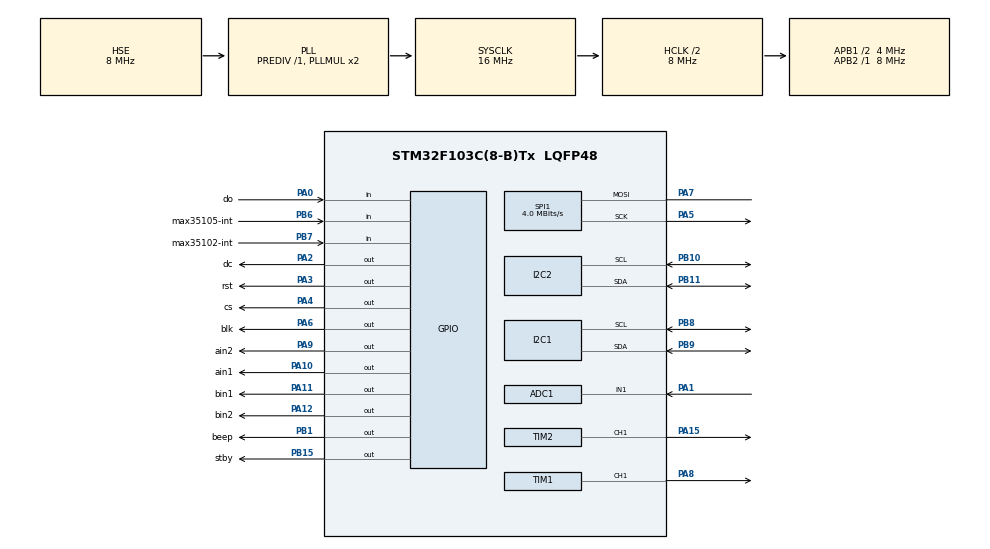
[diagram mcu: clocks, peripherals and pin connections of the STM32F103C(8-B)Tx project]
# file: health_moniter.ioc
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ADC1.Channel-1\#ChannelRegularConversion=ADC_CHANNEL_1
ADC1.NbrOfConversionFlag=1
ADC1.Rank-1\#ChannelRegularConversion=1
ADC1.SamplingTime-1\#ChannelRegularConversion=ADC_SAMPLETIME_1CYCLE_5
ADC1.master=1
Dma.Request0=SPI1_RX
Dma.Request1=SPI1_TX
Dma.SPI1_RX.0.Direction=DMA_PERIPH_TO_MEMORY
Dma.SPI1_RX.0.Instance=DMA1_Channel2
Dma.SPI1_RX.0.MemDataAlignment=DMA_MDATAALIGN_BYTE
Dma.SPI1_RX.0.MemInc=DMA_MINC_ENABLE
Dma.SPI1_RX.0.Mode=DMA_NORMAL
Dma.SPI1_RX.0.PeriphDataAlignment=DMA_PDATAALIGN_BYTE
Dma.SPI1_RX.0.PeriphInc=DMA_PINC_DISABLE
Dma.SPI1_RX.0.Priority=DMA_PRIORITY_LOW
Dma.SPI1_TX.1.Direction=DMA_MEMORY_TO_PERIPH
Dma.SPI1_TX.1.Instance=DMA1_Channel3
Dma.SPI1_TX.1.MemDataAlignment=DMA_MDATAALIGN_BYTE
Dma.SPI1_TX.1.MemInc=DMA_MINC_ENABLE
Dma.SPI1_TX.1.Mode=DMA_NORMAL
Dma.SPI1_TX.1.PeriphDataAlignment=DMA_PDATAALIGN_BYTE
Dma.SPI1_TX.1.PeriphInc=DMA_PINC_DISABLE
Dma.SPI1_TX.1.Priority=DMA_PRIORITY_LOW
Mcu.Family=STM32F1
Mcu.Name=STM32F103C(8-B)Tx
Mcu.Package=LQFP48
NVIC.DMA1_Channel2_IRQn=true\:0\:0\:false\:false\:true\:false\:true\:true
NVIC.DMA1_Channel3_IRQn=true\:0\:0\:false\:false\:true\:false\:true\:true
NVIC.PriorityGroup=NVIC_PRIORITYGROUP_4
PA0-WKUP.GPIO_Label=do
PA0-WKUP.Signal=GPIO_Input
PA1.Signal=ADCx_IN1
PA10.GPIO_Label=ain1
PA10.Signal=GPIO_Output
PA11.GPIO_Label=bin1
PA11.Signal=GPIO_Output
PA12.GPIO_Label=bin2
PA12.Signal=GPIO_Output
PA13.Mode=Serial_Wire
PA13.Signal=SYS_JTMS-SWDIO
PA14.Mode=Serial_Wire
PA14.Signal=SYS_JTCK-SWCLK
PA15.Signal=S_TIM2_CH1_ETR
PA2.GPIO_Label=dc
PA2.Signal=GPIO_Output
PA3.GPIO_Label=rst
PA3.Signal=GPIO_Output
PA4.GPIO_Label=cs
PA4.Signal=GPIO_Output
PA5.Mode=Simplex_Bidirectional_Master
PA5.Signal=SPI1_SCK
PA6.GPIO_Label=blk
PA6.Signal=GPIO_Output
PA7.Mode=Simplex_Bidirectional_Master
PA7.Signal=SPI1_MOSI
PA8.Signal=S_TIM1_CH1
PA9.GPIO_Label=ain2
PA9.Signal=GPIO_Output
PB1.GPIO_Label=beep
PB1.Signal=GPIO_Output
PB10.Mode=I2C
PB10.Signal=I2C2_SCL
PB11.Mode=I2C
PB11.Signal=I2C2_SDA
PB15.GPIO_Label=stby
PB15.Signal=GPIO_Output
PB6.GPIO_Label=max35105-int
PB6.Signal=GPIO_Input
PB7.GPIO_Label=max35102-int
PB7.Signal=GPIO_Input
PB8.Mode=I2C
PB8.Signal=I2C1_SCL
PB9.Mode=I2C
PB9.Signal=I2C1_SDA
PC14-OSC32_IN.Mode=LSE-External-Oscillator
PC14-OSC32_IN.Signal=RCC_OSC32_IN
PC15-OSC32_OUT.Mode=LSE-External-Oscillator
PC15-OSC32_OUT.Signal=RCC_OSC32_OUT
PD0-OSC_IN.Mode=HSE-External-Oscillator
PD0-OSC_IN.Signal=RCC_OSC_IN
PD1-OSC_OUT.Mode=HSE-External-Oscillator
PD1-OSC_OUT.Signal=RCC_OSC_OUT
ProjectManager.HeapSize=0x200
ProjectManager.StackSize=0x400
ProjectManager.TargetToolchain=CMake
RCC.ADCPresc=RCC_ADCPCLK2_DIV6
RCC.AHBCLKDivider=RCC_SYSCLK_DIV2
RCC.AHBFreq_Value=8000000
RCC.APB1CLKDivider=RCC_HCLK_DIV2
RCC.APB1Freq_Value=4000000
RCC.APB1TimFreq_Value=8000000
RCC.APB2Freq_Value=8000000
RCC.APB2TimFreq_Value=8000000
RCC.HCLKFreq_Value=8000000
RCC.PLLSourceVirtual=RCC_PLLSOURCE_HSE
RCC.RTCClockSelection=RCC_RTCCLKSOURCE_LSE
RCC.SYSCLKFreq_VALUE=16000000
RCC.SYSCLKSource=RCC_SYSCLKSOURCE_PLLCLK
RCC.USBFreq_Value=16000000
SH.ADCx_IN1.0=ADC1_IN1,IN1
SH.S_TIM1_CH1.0=TIM1_CH1,PWM Generation1 CH1
SH.S_TIM2_CH1_ETR.0=TIM2_CH1,PWM Generation1 CH1
SPI1.BaudRatePrescaler=SPI_BAUDRATEPRESCALER_2
SPI1.CalculateBaudRate=4.0 MBits/s
SPI1.Direction=SPI_DIRECTION_1LINE
SPI1.Mode=SPI_MODE_MASTER
SPI1.VirtualType=VM_MASTER
TIM1.Channel-PWM\ Generation1\ CH1=TIM_CHANNEL_1
TIM2.Channel-PWM\ Generation1\ CH1=TIM_CHANNEL_1
VP_RTC_VS_RTC_Activate.Mode=RTC_Enabled
VP_RTC_VS_RTC_Calendar.Mode=RTC_Calendar
board=custom

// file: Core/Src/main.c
/* USER CODE BEGIN Header */
/**
  ******************************************************************************
  * @file    main.c
  * @brief   健康监测系统主程序体。
  *          初始化所有外设、传感器和显示屏，进入裸机超级循环，
  *          轮询传感器、更新 GUI、控制报警蜂鸣器及排气电机。
  * @author  Health Monitor Project Team
  * @date    2026
  * @copyright Copyright (c) 2026 STMicroelectronics. All rights reserved.
  ******************************************************************************
  */
/* USER CODE END Header */

#include "main.h"

/* USER CODE BEGIN Includes */
#include "sht40.h"
#include "gui.hpp"
#include "tb6612.h"
#include "mp4.h"
#include <stdio.h>
/* USER CODE END Includes */

ADC_HandleTypeDef hadc1;      /*!< ADC1 句柄，用于 MP-4 气体传感器 (PA1) */

I2C_HandleTypeDef hi2c1;      /*!< I2C1 句柄，用于 MAX30105 烟雾传感器 */
I2C_HandleTypeDef hi2c2;      /*!< I2C2 句柄，用于 SHT40 和 VEML7700 */

RTC_HandleTypeDef hrtc;       /*!< RTC 句柄，由 LSE 32.768 kHz 提供时钟 */

SPI_HandleTypeDef hspi1;      /*!< SPI1 句柄，用于 ST7735 TFT 显示屏 */
DMA_HandleTypeDef hdma_spi1_rx; /*!< SPI1 RX DMA 句柄 */
DMA_HandleTypeDef hdma_spi1_tx; /*!< SPI1 TX DMA 句柄（ST7735 异步传输） */

TIM_HandleTypeDef htim1;      /*!< TIM1 句柄：电机 A 的 PWM 控制 (PA8) */
TIM_HandleTypeDef htim2;      /*!< TIM2 句柄：电机 B 的 PWM 控制 (PA15 重映射) */

/* USER CODE BEGIN PV */
static uint32_t last_sensor_tick = 0; /*!< 上次触发 SHT40 的时间戳 (ms) */
static uint32_t last_lux_tick    = 0; /*!< 上次读取 VEML7700 的时间戳 (ms) */
static double   sht40_temp       = 0.0; /*!< 最新温度值 (°C) */
static double   sht40_hum        = 0.0; /*!< 最新湿度值 (%RH) */
static uint8_t  gas_alarm        = 0;   /*!< 可燃气体报警标志 */
static uint8_t  smoke_alarm      = 0;   /*!< 烟雾报警标志 */
/* USER CODE END PV */

void SystemClock_Config(void);
static void MX_GPIO_Init(void);
static void MX_DMA_Init(void);
static void MX_ADC1_Init(void);
static void MX_I2C1_Init(void);
static void MX_I2C2_Init(void);
static void MX_SPI1_Init(void);
static void MX_TIM1_Init(void);
static void MX_TIM2_Init(void);
static void MX_RTC_Init(void);

/* USER CODE BEGIN 0 */

/* ===================== Buzzer Alarm Control ===================== */

/**
  * @brief  非阻塞蜂鸣器状态机：三声短促蜂鸣。
  * @note   报警激活时：嘀-嘀-嘀（100 ms 响 / 50 ms 停，重复 3 次）
  *         -> 1200 ms 暂停 -> 循环。
  *         报警未激活时：立即关闭。
  * @param  alarm  1 = 触发报警，0 = 静音
  */
static void buzzer_update(uint8_t alarm)
{
    static uint32_t tick  = 0;
    static uint8_t  phase = 0; /*!< 0=空闲，1..5=通/断脉冲，6=长暂停 */
    uint32_t now = HAL_GetTick();

    if (!alarm) {
        if (phase != 0) {
            HAL_GPIO_WritePin(beep_GPIO_Port, beep_Pin, GPIO_PIN_RESET);
            phase = 0;
        }
        return;
    }

    if (phase == 0) {
        HAL_GPIO_WritePin(beep_GPIO_Port, beep_Pin, GPIO_PIN_SET);
        tick = now;
        phase = 1;
    } else if (phase == 1) { /* 第1次响：100 ms */
        if (now - tick >= 100) {
            HAL_GPIO_WritePin(beep_GPIO_Port, beep_Pin, GPIO_PIN_RESET);
            tick = now;
            phase = 2;
        }
    } else if (phase == 2) { /* 第1次停：50 ms */
        if (now - tick >= 50) {
            HAL_GPIO_WritePin(beep_GPIO_Port, beep_Pin, GPIO_PIN_SET);
            tick = now;
            phase = 3;
        }
    } else if (phase == 3) { /* 第2次响：100 ms */
        if (now - tick >= 100) {
            HAL_GPIO_WritePin(beep_GPIO_Port, beep_Pin, GPIO_PIN_RESET);
            tick = now;
            phase = 4;
        }
    } else if (phase == 4) { /* 第2次停：50 ms */
        if (now - tick >= 50) {
            HAL_GPIO_WritePin(beep_GPIO_Port, beep_Pin, GPIO_PIN_SET);
            tick = now;
            phase = 5;
        }
    } else if (phase == 5) { /* 第3次响：100 ms */
        if (now - tick >= 100) {
            HAL_GPIO_WritePin(beep_GPIO_Port, beep_Pin, GPIO_PIN_RESET);
            tick = now;
            phase = 6;
        }
    } else if (phase == 6) { /* 暂停：1200 ms */
        if (now - tick >= 1200) {
            HAL_GPIO_WritePin(beep_GPIO_Port, beep_Pin, GPIO_PIN_SET);
            tick = now;
            phase = 1; /* 重新开始三声蜂鸣 */
        }
    }
}

/* ===================== Motor Speed Mapping ===================== */

/** @brief 电机启动的 PPM 阈值（滞回开启）。 */
#define MOTOR_START_PPM   1000.0f
/** @brief 电机停止的 PPM 阈值（滞回关闭）。 */
#define MOTOR_STOP_PPM    900.0f
/** @brief 对应满占空比 PWM (65535) 的 PPM 阈值。 */
#define MOTOR_FULL_PPM    5000.0f

/**
  * @brief  将气体/烟雾浓度 (ppm) 映射为 PWM 占空比 (0..65535)。
  * @param  ppm  浓度，单位为百万分之一 (ppm)。
  * @retval uint16_t TIM 的 PWM 比较值。
  */
static uint16_t ppm_to_pwm(float ppm)
{
    if (ppm <= MOTOR_START_PPM) return 0;
    float ratio = (ppm - MOTOR_START_PPM) / (MOTOR_FULL_PPM - MOTOR_START_PPM);
    if (ratio > 1.0f) ratio = 1.0f;
    return (uint16_t)(ratio * 65535.0f);
}

/**
  * @brief  电机 A 更新：驱动烟雾排气风扇 (TIM1_CH1)。
  * @note   使用滞回特性，避免在阈值附近频繁启停。
  * @param  ppm  烟雾浓度 (ppm)。
  */
static void motorA_update(float ppm)
{
    static uint8_t running = 0;
    if (running) {
        if (ppm < MOTOR_STOP_PPM) {
            TB6612_SetMotorA(TB6612_STOP, 0);
            running = 0;
        } else {
            TB6612_SetMotorA(TB6612_CW, ppm_to_pwm(ppm));
        }
    } else {
        if (ppm > MOTOR_START_PPM) {
            running = 1;
            TB6612_SetMotorA(TB6612_CW, ppm_to_pwm(ppm));
        }
    }
}

/**
  * @brief  电机 B 更新：驱动可燃气体排气风扇 (TIM2_CH1)。
  * @note   使用滞回特性，避免在阈值附近频繁启停。
  * @param  ppm  气体浓度 (ppm)。
  */
static void motorB_update(float ppm)
{
    static uint8_t running = 0;
    if (running) {
        if (ppm < MOTOR_STOP_PPM) {
            TB6612_SetMotorB(TB6612_STOP, 0);
            running = 0;
        } else {
            TB6612_SetMotorB(TB6612_CW, ppm_to_pwm(ppm));
        }
    } else {
        if (ppm > MOTOR_START_PPM) {
            running = 1;
            TB6612_SetMotorB(TB6612_CW, ppm_to_pwm(ppm));
        }
    }
}

/* USER CODE END 0 */

/**
  * @brief  应用程序入口点。
  * @retval int（在嵌入式环境中永不返回）。
  */
int main(void)
{

    /* MCU Configuration -----------------------------------------------------*/

    /* 复位所有外设，初始化 Flash 接口和 SysTick。 */
    HAL_Init();

    /* 配置系统时钟为 72 MHz（HSE 8 MHz -> PLL x2 -> AHB/2）。 */
    SystemClock_Config();

    /* 初始化所有已配置的外设。 */
    MX_GPIO_Init();
    MX_DMA_Init();
    MX_ADC1_Init();
    MX_I2C1_Init();
    MX_I2C2_Init();
    MX_SPI1_Init();
    MX_TIM1_Init();
    MX_TIM2_Init();
    MX_RTC_Init();

    /* USER CODE BEGIN 2 */

    /* 初始化电机驱动器（释放待机，PWM 为 0）。 */
    TB6612_Init();

    /* 初始化 TFT LCD 并绘制静态背景。 */
    ST7735_Init();
    gui_init();
    gui_draw_background();

    /* 初始化 MP-4 可燃气体传感器。
     * 跳过预热和校准：使用典型默认值 R0，使设备立即显示读数。
     * 如需精确测量，请在清洁空气中预热 30 分钟后执行 CalibrateR0()。 */
    MP4_Init();
    {
        MP4_Data_t *d = MP4_GetData();
        d->R0 = 40000.0f;      /*!< 3.3 V 加热电压下的典型默认 R0 值 */
        d->IsCalibrated = 1;
        d->IsWarmedUp   = 1;
    }

    /* USER CODE END 2 */

    /* Infinite loop ---------------------------------------------------------*/
    while (1)
    {

        /* USER CODE BEGIN 3 */
        uint32_t now = HAL_GetTick();

        /* ---------- SHT40 温度与湿度（非阻塞模式） ---------- */
        if ((now - last_sensor_tick >= 200) && (SHT40_NB_GetState() == SHT40_NB_IDLE)) {
            last_sensor_tick = now;
            SHT40_NB_Start();   /*!< 触发测量，立即返回 */
        }

        /* 在等待 >= 10 ms 的转换延时后，查询 SHT40 结果。 */
        if (SHT40_NB_Poll(&sht40_temp, &sht40_hum)) {
            gui_update_temp(sht40_temp);
            gui_update_hum(sht40_hum);
        }

        /* ---------- VEML7700 环境光（无等待模式） ---------- */
        if (now - last_lux_tick >= 100) {
            last_lux_tick = now;
            float lux = veml7700_read_lux();
            gui_update_lux(lux);
        }

        /* ---------- MAX30105 烟雾检测 ---------- */
        static uint32_t last_smoke_tick = 0;
        static float    smoke_ppm       = 0.0f;
        if (now - last_smoke_tick >= 200) {
            last_smoke_tick = now;
            smoke_ppm = smoke_detector_read();
            gui_update_smoke(smoke_ppm);
            if (smoke_ppm >= 0.0f) {
                smoke_alarm = (smoke_ppm >= 1000.0f) ? 1 : 0;
                motorA_update(smoke_ppm);
            } else {
                smoke_alarm = 0;
            }
        }

        /* ---------- MP-4 可燃气体 ---------- */
        static uint32_t last_gas_tick = 0;
        static float    gas_ppm       = 0.0f;
        if (now - last_gas_tick >= 500) {
            last_gas_tick = now;
            MP4_Status_t status = MP4_Read();
            if (status == MP4_STATUS_OK || status == MP4_STATUS_WARMING_UP) {
                MP4_Data_t *data = MP4_GetData();
                gas_ppm = data->Ppm;
                gui_update_gas((double)gas_ppm);
                gas_alarm = (gas_ppm >= MP4_ALARM_THRESHOLD) ? 1 : 0;
            } else {
                gui_update_gas(-1.0); /*!< 未校准或出错时显示 "--" */
                gas_ppm = 0.0f;
                gas_alarm = 0;
            }
            motorB_update(gas_ppm);
        }

        /* ---------- 蜂鸣器报警（烟雾与气体报警的逻辑或） ---------- */
        buzzer_update(gas_alarm || smoke_alarm);

        /* ---------- RTC 时间显示（每秒更新一次） ---------- */
        static uint32_t last_rtc_tick = 0;
        if (now - last_rtc_tick >= 1000) {
            last_rtc_tick = now;
            RTC_TimeTypeDef sTime;
            RTC_DateTypeDef sDate;
            HAL_RTC_GetTime(&hrtc, &sTime, RTC_FORMAT_BIN);
            HAL_RTC_GetDate(&hrtc, &sDate, RTC_FORMAT_BIN);
            gui_update_time(sTime.Hours, sTime.Minutes, sTime.Seconds);
        }
        /* USER CODE END 3 */
    }
}

/**
  * @brief  系统时钟配置。
  * @note   HSE 8 MHz -> PLL x2 -> 系统时钟 72 MHz。
  *         AHB = 系统时钟/2 = 36 MHz。
  *         APB1 = AHB/2 = 18 MHz (最大值), APB2 = AHB/1 = 36 MHz。
  *         RTC 时钟 = LSE 32.768 kHz。
  *         ADC PCLK2 = /6。
  * @retval None
  */
void SystemClock_Config(void)
{
    RCC_OscInitTypeDef RCC_OscInitStruct = {0};
    RCC_ClkInitTypeDef RCC_ClkInitStruct = {0};
    RCC_PeriphCLKInitTypeDef PeriphClkInit = {0};

    /* 初始化 RCC 振荡器：HSE + LSE + PLL。 */
    RCC_OscInitStruct.OscillatorType = RCC_OSCILLATORTYPE_HSE | RCC_OSCILLATORTYPE_LSE;
    RCC_OscInitStruct.HSEState       = RCC_HSE_ON;
    RCC_OscInitStruct.HSEPredivValue = RCC_HSE_PREDIV_DIV1;
    RCC_OscInitStruct.LSEState       = RCC_LSE_ON;
    RCC_OscInitStruct.HSIState       = RCC_HSI_ON;
    RCC_OscInitStruct.PLL.PLLState   = RCC_PLL_ON;
    RCC_OscInitStruct.PLL.PLLSource  = RCC_PLLSOURCE_HSE;
    RCC_OscInitStruct.PLL.PLLMUL     = RCC_PLL_MUL2;
    if (HAL_RCC_OscConfig(&RCC_OscInitStruct) != HAL_OK)
    {
        Error_Handler();
    }

    /* 初始化 CPU、AHB 和 APB 总线时钟。 */
    RCC_ClkInitStruct.ClockType      = RCC_CLOCKTYPE_HCLK | RCC_CLOCKTYPE_SYSCLK
                                     | RCC_CLOCKTYPE_PCLK1 | RCC_CLOCKTYPE_PCLK2;
    RCC_ClkInitStruct.SYSCLKSource   = RCC_SYSCLKSOURCE_PLLCLK;
    RCC_ClkInitStruct.AHBCLKDivider  = RCC_SYSCLK_DIV2;
    RCC_ClkInitStruct.APB1CLKDivider = RCC_HCLK_DIV2;
    RCC_ClkInitStruct.APB2CLKDivider = RCC_HCLK_DIV1;

    if (HAL_RCC_ClockConfig(&RCC_ClkInitStruct, FLASH_LATENCY_0) != HAL_OK)
    {
        Error_Handler();
    }

    /* 外设时钟源：RTC 来自 LSE，ADC 预分频。 */
    PeriphClkInit.PeriphClockSelection = RCC_PERIPHCLK_RTC | RCC_PERIPHCLK_ADC;
    PeriphClkInit.RTCClockSelection    = RCC_RTCCLKSOURCE_LSE;
    PeriphClkInit.AdcClockSelection    = RCC_ADCPCLK2_DIV6;
    if (HAL_RCCEx_PeriphCLKConfig(&PeriphClkInit) != HAL_OK)
    {
        Error_Handler();
    }
}

/**
  * @brief  ADC1 初始化函数。
  * @note   配置为单次转换、软件触发、右对齐。
  *         通道 1 (PA1) 用于读取 MP-4 气体传感器的 VRL 电压。
  * @retval None
  */
static void MX_ADC1_Init(void)
{
    ADC_ChannelConfTypeDef sConfig = {0};

    /* 通用配置。 */
    hadc1.Instance                   = ADC1;
    hadc1.Init.ScanConvMode          = ADC_SCAN_DISABLE;
    hadc1.Init.ContinuousConvMode    = DISABLE;
    hadc1.Init.DiscontinuousConvMode = DISABLE;
    hadc1.Init.ExternalTrigConv      = ADC_SOFTWARE_START;
    hadc1.Init.DataAlign             = ADC_DATAALIGN_RIGHT;
    hadc1.Init.NbrOfConversion       = 1;
    if (HAL_ADC_Init(&hadc1) != HAL_OK)
    {
        Error_Handler();
    }

    /* 配置常规通道：PA1 (ADC1_IN1) 用于 MP-4 VRL。 */
    sConfig.Channel      = ADC_CHANNEL_1;
    sConfig.Rank         = ADC_REGULAR_RANK_1;
    sConfig.SamplingTime = ADC_SAMPLETIME_1CYCLE_5;
    if (HAL_ADC_ConfigChannel(&hadc1, &sConfig) != HAL_OK)
    {
        Error_Handler();
    }
}

/**
  * @brief  I2C1 初始化函数。
  * @note   标准模式 100 kHz，7 位寻址。
  *         连接到 MAX30105 烟雾传感器。
  * @retval None
  */
static void MX_I2C1_Init(void)
{
    hi2c1.Instance             = I2C1;
    hi2c1.Init.ClockSpeed      = 100000;
    hi2c1.Init.DutyCycle       = I2C_DUTYCYCLE_2;
    hi2c1.Init.OwnAddress1     = 0;
    hi2c1.Init.AddressingMode  = I2C_ADDRESSINGMODE_7BIT;
    hi2c1.Init.DualAddressMode = I2C_DUALADDRESS_DISABLE;
    hi2c1.Init.OwnAddress2     = 0;
    hi2c1.Init.GeneralCallMode = I2C_GENERALCALL_DISABLE;
    hi2c1.Init.NoStretchMode   = I2C_NOSTRETCH_DISABLE;
    if (HAL_I2C_Init(&hi2c1) != HAL_OK)
    {
        Error_Handler();
    }
}

/**
  * @brief  I2C2 初始化函数。
  * @note   标准模式 100 kHz，7 位寻址。
  *         连接到 SHT40 (0x44) 和 VEML7700 (0x10)。
  * @retval None
  */
static void MX_I2C2_Init(void)
{
    hi2c2.Instance             = I2C2;
    hi2c2.Init.ClockSpeed      = 100000;
    hi2c2.Init.DutyCycle       = I2C_DUTYCYCLE_2;
    hi2c2.Init.OwnAddress1     = 0;
    hi2c2.Init.AddressingMode  = I2C_ADDRESSINGMODE_7BIT;
    hi2c2.Init.DualAddressMode = I2C_DUALADDRESS_DISABLE;
    hi2c2.Init.OwnAddress2     = 0;
    hi2c2.Init.GeneralCallMode = I2C_GENERALCALL_DISABLE;
    hi2c2.Init.NoStretchMode   = I2C_NOSTRETCH_DISABLE;
    if (HAL_I2C_Init(&hi2c2) != HAL_OK)
    {
        Error_Handler();
    }
}

/**
  * @brief  RTC 初始化函数。
  * @note   使用 LSE，自动配置 1 秒预分频器。
  *         备份寄存器 DR1 = 0xA5A5 标记已初始化状态，
  *         以便 VBAT 在复位后保持时间。
  * @retval None
  */
static void MX_RTC_Init(void)
{
    RTC_TimeTypeDef sTime         = {0};
    RTC_DateTypeDef DateToUpdate  = {0};

    /* 仅初始化 RTC。 */
    hrtc.Instance              = RTC;
    hrtc.Init.AsynchPrediv     = RTC_AUTO_1_SECOND;
    hrtc.Init.OutPut           = RTC_OUTPUTSOURCE_ALARM;
    if (HAL_RTC_Init(&hrtc) != HAL_OK)
    {
        Error_Handler();
    }

    /* 检查备份寄存器：如果已初始化，则跳过时间设置。 */
    HAL_PWR_EnableBkUpAccess();
    if (HAL_RTCEx_BKUPRead(&hrtc, RTC_BKP_DR1) == 0xA5A5) {
        HAL_PWR_DisableBkUpAccess();
        return;
    }

    /* 设置初始时间和日期（BCD 格式）。 */
    sTime.Hours   = 0x0;
    sTime.Minutes = 0x0;
    sTime.Seconds = 0x0;
    if (HAL_RTC_SetTime(&hrtc, &sTime, RTC_FORMAT_BCD) != HAL_OK)
    {
        Error_Handler();
    }

    DateToUpdate.WeekDay = RTC_WEEKDAY_MONDAY;
    DateToUpdate.Month   = RTC_MONTH_JANUARY;
    DateToUpdate.Date    = 0x1;
    DateToUpdate.Year    = 0x0;
    if (HAL_RTC_SetDate(&hrtc, &DateToUpdate, RTC_FORMAT_BCD) != HAL_OK)
    {
        Error_Handler();
    }

    /* 标记备份寄存器，以便下次启动时跳过重新初始化。 */
    HAL_PWR_EnableBkUpAccess();
    HAL_RTCEx_BKUPWrite(&hrtc, RTC_BKP_DR1, 0xA5A5);
    HAL_PWR_DisableBkUpAccess();
}

/**
  * @brief  SPI1 初始化函数。
  * @note   主模式，双线全双工，8 位数据，CPOL=LOW，CPHA=1EDGE。
  *         波特率 = PCLK2/2 = 18 MHz（ST7735 的最大速率）。
  *         软件 NSS 控制。
  * @retval None
  */
static void MX_SPI1_Init(void)
{
    hspi1.Instance               = SPI1;
    hspi1.Init.Mode              = SPI_MODE_MASTER;
    hspi1.Init.Direction         = SPI_DIRECTION_2LINES;
    hspi1.Init.DataSize          = SPI_DATASIZE_8BIT;
    hspi1.Init.CLKPolarity       = SPI_POLARITY_LOW;
    hspi1.Init.CLKPhase          = SPI_PHASE_1EDGE;
    hspi1.Init.NSS               = SPI_NSS_SOFT;
    hspi1.Init.BaudRatePrescaler = SPI_BAUDRATEPRESCALER_2;
    hspi1.Init.FirstBit          = SPI_FIRSTBIT_MSB;
    hspi1.Init.TIMode            = SPI_TIMODE_DISABLE;
    hspi1.Init.CRCCalculation    = SPI_CRCCALCULATION_DISABLE;
    hspi1.Init.CRCPolynomial     = 10;
    if (HAL_SPI_Init(&hspi1) != HAL_OK)
    {
        Error_Handler();
    }
}

/**
  * @brief  TIM1 初始化函数。
  * @note   通道 1 (PA8) 的 PWM 模式，用于电机 A 的速度控制。
  *         周期 = 65535 => 在 72 MHz TIM 时钟下约为 1.1 kHz。
  * @retval None
  */
static void MX_TIM1_Init(void)
{
    TIM_MasterConfigTypeDef sMasterConfig       = {0};
    TIM_OC_InitTypeDef      sConfigOC           = {0};
    TIM_BreakDeadTimeConfigTypeDef sBreakDeadTimeConfig = {0};

    htim1.Instance               = TIM1;
    htim1.Init.Prescaler         = 0;
    htim1.Init.CounterMode       = TIM_COUNTERMODE_UP;
    htim1.Init.Period            = 65535;
    htim1.Init.ClockDivision     = TIM_CLOCKDIVISION_DIV1;
    htim1.Init.RepetitionCounter = 0;
    htim1.Init.AutoReloadPreload = TIM_AUTORELOAD_PRELOAD_DISABLE;
    if (HAL_TIM_PWM_Init(&htim1) != HAL_OK)
    {
        Error_Handler();
    }

    sMasterConfig.MasterOutputTrigger = TIM_TRGO_RESET;
    sMasterConfig.MasterSlaveMode     = TIM_MASTERSLAVEMODE_DISABLE;
    if (HAL_TIMEx_MasterConfigSynchronization(&htim1, &sMasterConfig) != HAL_OK)
    {
        Error_Handler();
    }

    sConfigOC.OCMode       = TIM_OCMODE_PWM1;
    sConfigOC.Pulse        = 0;
    sConfigOC.OCPolarity   = TIM_OCPOLARITY_HIGH;
    sConfigOC.OCNPolarity  = TIM_OCNPOLARITY_HIGH;
    sConfigOC.OCFastMode   = TIM_OCFAST_DISABLE;
    sConfigOC.OCIdleState  = TIM_OCIDLESTATE_RESET;
    sConfigOC.OCNIdleState = TIM_OCNIDLESTATE_RESET;
    if (HAL_TIM_PWM_ConfigChannel(&htim1, &sConfigOC, TIM_CHANNEL_1) != HAL_OK)
    {
        Error_Handler();
    }

    sBreakDeadTimeConfig.OffStateRunMode  = TIM_OSSR_DISABLE;
    sBreakDeadTimeConfig.OffStateIDLEMode = TIM_OSSI_DISABLE;
    sBreakDeadTimeConfig.LockLevel        = TIM_LOCKLEVEL_OFF;
    sBreakDeadTimeConfig.DeadTime         = 0;
    sBreakDeadTimeConfig.BreakState       = TIM_BREAK_DISABLE;
    sBreakDeadTimeConfig.BreakPolarity    = TIM_BREAKPOLARITY_HIGH;
    sBreakDeadTimeConfig.AutomaticOutput  = TIM_AUTOMATICOUTPUT_DISABLE;
    if (HAL_TIMEx_ConfigBreakDeadTime(&htim1, &sBreakDeadTimeConfig) != HAL_OK)
    {
        Error_Handler();
    }

    HAL_TIM_MspPostInit(&htim1);
}

/**
  * @brief  TIM2 初始化函数。
  * @note   通道 1 (PA15，部分重映射) 的 PWM 模式，用于电机 B 的速度控制。
  *         周期 = 65535 => 在 72 MHz TIM 时钟下约为 1.1 kHz。
  * @retval None
  */
static void MX_TIM2_Init(void)
{
    TIM_MasterConfigTypeDef sMasterConfig = {0};
    TIM_OC_InitTypeDef      sConfigOC     = {0};

    htim2.Instance               = TIM2;
    htim2.Init.Prescaler         = 0;
    htim2.Init.CounterMode       = TIM_COUNTERMODE_UP;
    htim2.Init.Period            = 65535;
    htim2.Init.ClockDivision     = TIM_CLOCKDIVISION_DIV1;
    htim2.Init.AutoReloadPreload = TIM_AUTORELOAD_PRELOAD_DISABLE;
    if (HAL_TIM_PWM_Init(&htim2) != HAL_OK)
    {
        Error_Handler();
    }

    sMasterConfig.MasterOutputTrigger = TIM_TRGO_RESET;
    sMasterConfig.MasterSlaveMode     = TIM_MASTERSLAVEMODE_DISABLE;
    if (HAL_TIMEx_MasterConfigSynchronization(&htim2, &sMasterConfig) != HAL_OK)
    {
        Error_Handler();
    }

    sConfigOC.OCMode     = TIM_OCMODE_PWM1;
    sConfigOC.Pulse      = 0;
    sConfigOC.OCPolarity = TIM_OCPOLARITY_HIGH;
    sConfigOC.OCFastMode = TIM_OCFAST_DISABLE;
    if (HAL_TIM_PWM_ConfigChannel(&htim2, &sConfigOC, TIM_CHANNEL_1) != HAL_OK)
    {
        Error_Handler();
    }

    HAL_TIM_MspPostInit(&htim2);
}

/**
  * @brief  DMA 控制器时钟使能及中断配置。
  * @note   DMA1 通道 2 (SPI1_RX) 和通道 3 (SPI1_TX) 中断使能，优先级为 0。
  * @retval None
  */
static void MX_DMA_Init(void)
{
    /* 使能 DMA1 时钟。 */
    __HAL_RCC_DMA1_CLK_ENABLE();

    /* DMA1_Channel2_IRQn：SPI1 接收。 */
    HAL_NVIC_SetPriority(DMA1_Channel2_IRQn, 0, 0);
    HAL_NVIC_EnableIRQ(DMA1_Channel2_IRQn);

    /* DMA1_Channel3_IRQn：SPI1 发送。 */
    HAL_NVIC_SetPriority(DMA1_Channel3_IRQn, 0, 0);
    HAL_NVIC_EnableIRQ(DMA1_Channel3_IRQn);
}

/**
  * @brief  GPIO 初始化函数。
  * @note   配置项目中使用的所有 GPIO：
  *         - 输入：PA0 (MQ-x DO), PB6/PB7 (MAX3010x INT)
  *         - 输出：PA2/PA3/PA4/PA6 (ST7735 DC/RST/CS/BLK),
  *                 PA9/PA10/PA11/PA12 (TB6612 AIN/BIN),
  *                 PB1 (蜂鸣器), PB15 (TB6612 STBY)
  * @retval None
  */
static void MX_GPIO_Init(void)
{
    GPIO_InitTypeDef GPIO_InitStruct = {0};

    /* 使能 GPIO 端口时钟。 */
    __HAL_RCC_GPIOC_CLK_ENABLE();
    __HAL_RCC_GPIOD_CLK_ENABLE();
    __HAL_RCC_GPIOA_CLK_ENABLE();
    __HAL_RCC_GPIOB_CLK_ENABLE();

    /* PA 控制引脚默认输出低电平。 */
    HAL_GPIO_WritePin(GPIOA,
                      dc_Pin | rst_Pin | cs_Pin | blk_Pin
                      | ain2_Pin | ain1_Pin | bin1_Pin | bin2_Pin,
                      GPIO_PIN_RESET);

    /* PB 控制引脚默认输出低电平。 */
    HAL_GPIO_WritePin(GPIOB, beep_Pin | stby_Pin, GPIO_PIN_RESET);

    /* PA0：MQ-x 数字输出（输入，无上拉/下拉）。 */
    GPIO_InitStruct.Pin  = do_Pin;
    GPIO_InitStruct.Mode = GPIO_MODE_INPUT;
    GPIO_InitStruct.Pull = GPIO_NOPULL;
    HAL_GPIO_Init(do_GPIO_Port, &GPIO_InitStruct);

    /* PA2/3/4/6/9/10/11/12：ST7735 和电机方向输出。 */
    GPIO_InitStruct.Pin   = dc_Pin | rst_Pin | cs_Pin | blk_Pin
                          | ain2_Pin | ain1_Pin | bin1_Pin | bin2_Pin;
    GPIO_InitStruct.Mode  = GPIO_MODE_OUTPUT_PP;
    GPIO_InitStruct.Pull  = GPIO_NOPULL;
    GPIO_InitStruct.Speed = GPIO_SPEED_FREQ_LOW;
    HAL_GPIO_Init(GPIOA, &GPIO_InitStruct);

    /* PB1/15：蜂鸣器和 TB6612 待机输出。 */
    GPIO_InitStruct.Pin   = beep_Pin | stby_Pin;
    GPIO_InitStruct.Mode  = GPIO_MODE_OUTPUT_PP;
    GPIO_InitStruct.Pull  = GPIO_NOPULL;
    GPIO_InitStruct.Speed = GPIO_SPEED_FREQ_LOW;
    HAL_GPIO_Init(GPIOB, &GPIO_InitStruct);

    /* PB6/7：MAX3010x 中断输入。 */
    GPIO_InitStruct.Pin  = max35105_int_Pin | max35102_int_Pin;
    GPIO_InitStruct.Mode = GPIO_MODE_INPUT;
    GPIO_InitStruct.Pull = GPIO_NOPULL;
    HAL_GPIO_Init(GPIOB, &GPIO_InitStruct);

    /* 打开 ST7735 背光（PA6 置高）。 */
    HAL_GPIO_WritePin(GPIOA, blk_Pin, GPIO_PIN_SET);
}

/**
  * @brief  HAL 初始化失败时执行的错误处理函数。
  * @note   禁止中断并无限循环，以防止进一步损坏。
  * @retval None
  */
void Error_Handler(void)
{
    __disable_irq();
    while (1)
    {
    }
}
